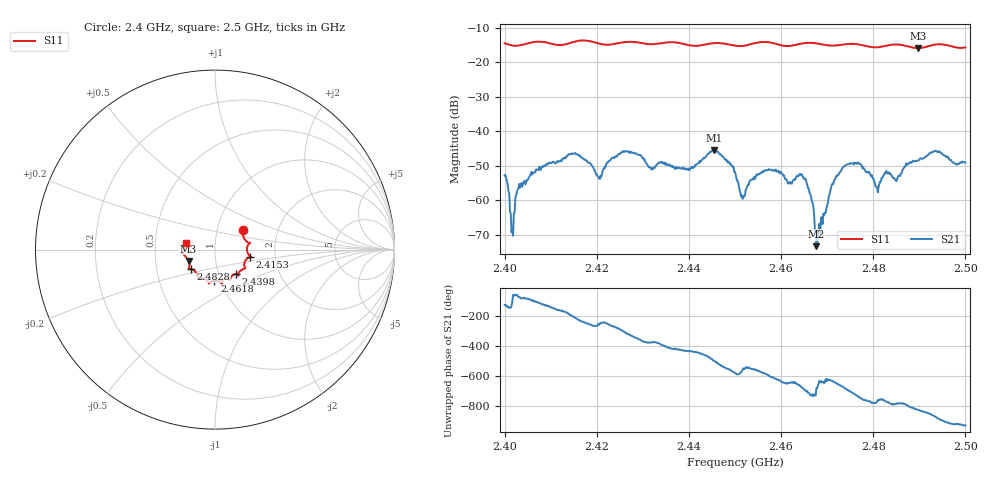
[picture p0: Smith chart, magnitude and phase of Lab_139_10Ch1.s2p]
# Hz S RI R 50
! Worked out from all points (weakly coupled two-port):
!   601 points, 2.4 GHz to 2.5 GHz, reference 50 ohm
!   highest |S21| = -45.48 dB at 2.4455 GHz (marker M1); lowest = -73.3 dB at 2.4677 GHz (marker M2)
!   lowest |S11| = -15.9 dB at 2.4897 GHz (marker M3), VSWR 1.38, Z = 36.9 - j4.84 ohm
!   |S11| at or under -10 dB: start of sweep to end of sweep
!   S12 and S22 are empty: the file has one direction only
!   S11 on the Smith chart (normalised r, x): 2.4 GHz: 1.33, +0.29; 2.4153 GHz: 1.48, -0.12; 2.4398 GHz: 1.21, -0.34; 2.4618 GHz: 0.94, -0.33; 2.4828 GHz: 0.74, -0.17; 2.5 GHz: 0.72, +0.06
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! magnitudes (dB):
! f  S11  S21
! 2.4 GHz  -14.5  -52.8
! 2.4017 GHz  -15.1  -68.1
! 2.4037 GHz  -15.0  -55.0
! 2.4153 GHz  -14.0  -46.3
! 2.4167 GHz  -13.7  -47.7
! 2.4205 GHz  -14.6  -53.7
! 2.4258 GHz  -14.2  -45.7
! 2.4333 GHz  -14.6  -49.4
! 2.4398 GHz  -15.0  -51.3
! 2.4455 GHz  -14.4  -45.5
! 2.45 GHz  -15.2  -51.8
! 2.4517 GHz  -15.3  -59.6
! 2.4568 GHz  -14.1  -51.3
! 2.4618 GHz  -15.3  -55.1
! 2.4645 GHz  -14.6  -52.5
! 2.4667 GHz  -14.4  -60.4
! 2.4677 GHz  -14.5  -73.3
! 2.4738 GHz  -14.8  -50.0
! 2.4828 GHz  -15.2  -51.5
! 2.4833 GHz  -15.0  -51.9
! 2.4897 GHz  -15.9  -48.5
! 2.5 GHz  -15.7  -49.1
